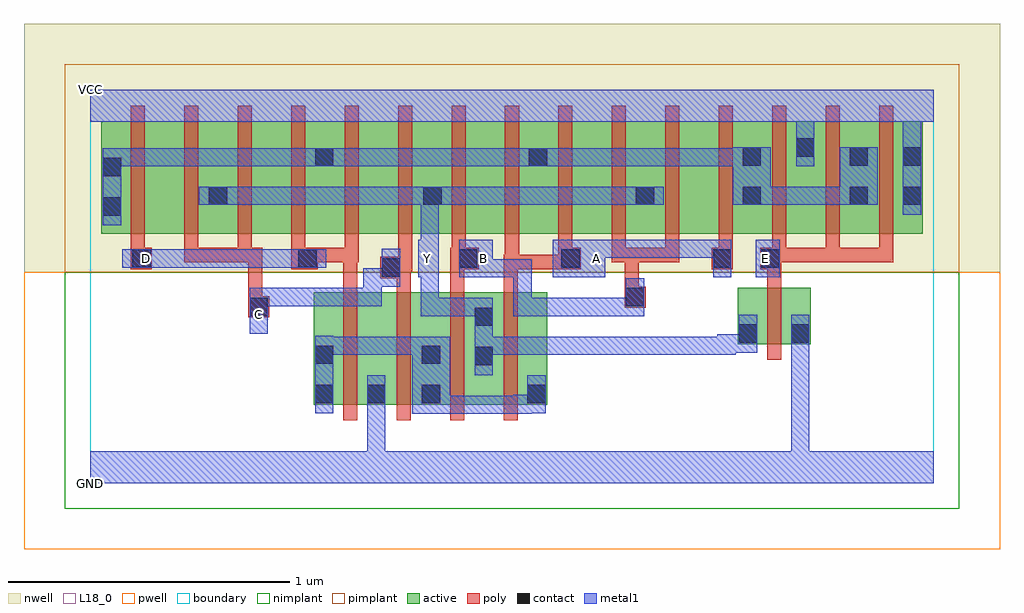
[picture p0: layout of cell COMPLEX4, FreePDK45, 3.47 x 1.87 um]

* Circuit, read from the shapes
.subckt COMPLEX4 A B C D E GND VCC Y
M1 GND D n1 VSUBS nfet w=0.4u l=0.05u
M2 n1 C GND VSUBS nfet w=0.4u l=0.05u
M3 Y B n1 VSUBS nfet w=0.4u l=0.05u
M4 n1 A Y VSUBS nfet w=0.4u l=0.05u
M5 GND E Y VSUBS nfet w=0.2u l=0.05u
M6 n2 D n3 n4 pfet w=0.4u l=0.05u
M7 Y C n2 n4 pfet w=0.4u l=0.05u
M8 n5 C Y n4 pfet w=0.4u l=0.05u
M9 n3 D n5 n4 pfet w=0.4u l=0.05u
M10 n6 D n3 n4 pfet w=0.4u l=0.05u
M11 Y C n6 n4 pfet w=0.4u l=0.05u
M12 n7 B Y n4 pfet w=0.4u l=0.05u
M13 n3 A n7 n4 pfet w=0.4u l=0.05u
M14 n8 A n3 n4 pfet w=0.4u l=0.05u
M15 Y B n8 n4 pfet w=0.4u l=0.05u
M16 n9 B Y n4 pfet w=0.4u l=0.05u
M17 n3 A n9 n4 pfet w=0.4u l=0.05u
M18 VCC E n3 n4 pfet w=0.4u l=0.05u m=3
.ends

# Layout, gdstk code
import gdstk
lib = gdstk.Library(unit=1e-6, precision=1e-09)
def R(c, l, rs):  # rectangles x0, y0, x1, y1
    for r in rs: c.add(gdstk.rectangle(r[:2], r[2:], *l))
def A(c, l, x, y, w, h, nx, ny, dx, dy):  # array of equal rectangles
    R(c, l, [(x+i*dx, y+j*dy, x+i*dx+w, y+j*dy+h) for i in range(nx) for j in range(ny)])
active = (1, 0)
pwell = (2, 0)
nwell = (3, 0)
nimplant = (4, 0)
pimplant = (5, 0)
poly = (9, 0)
contact = (10, 0)
metal1 = (11, 0)
L18_0 = (18, 0)
boundary = (235, 0)

complex4 = lib.new_cell('COMPLEX4')
A(complex4, active, 1.405, 0.887, 0.225, 0.4, 3, 1, 0.38, 0)
A(complex4, active, 2.315, 0.887, 0.265, 0.4, 3, 1, 0.19, 0)
R(complex4, active, [(0.795,0.28,1.055,0.68), (0.795,0.28,0.87,0.597), (0.98,0.28,1.25,0.68), (0.98,0.28,1.055,0.492), (1.175,0.28,1.437,0.68), (1.175,0.28,1.25,0.55), (1.362,0.28,1.625,0.68), (1.55,0.28,1.625,0.447), (1.362,0.295,1.437,0.68), (2.302,0.495,2.377,0.695), (2.302,0.495,2.562,0.695), (2.487,0.495,2.562,0.695), (0.04,0.887,0.265,1.287), (0.04,0.887,0.145,1.2), (0.265,0.887,0.492,1.287), (0.417,0.887,0.492,1.07), (0.417,0.887,0.645,1.287), (0.645,0.887,0.87,1.287), (0.795,0.887,0.87,1.2), (0.795,0.887,1.025,1.287), (1.025,0.887,1.255,1.287), (1.18,0.887,1.405,1.287), (1.18,0.887,1.255,1.07), (1.555,0.887,1.785,1.287), (1.935,0.887,2.165,1.287), (1.935,0.887,2.01,1.07), (2.315,0.887,2.39,1.2), (2.505,0.887,2.58,1.287), (2.695,0.887,2.77,1.2), (2.885,0.887,2.96,1.287), (1.555,0.907,1.63,1.2)])
R(complex4, pwell, [(-0.235,-0.235,3.235,0.75)])
R(complex4, nwell, [(-0.235,0.75,3.235,1.635)])
R(complex4, nimplant, [(-0.09,-0.09,3.09,0.75)])
R(complex4, pimplant, [(-0.09,0.75,3.09,1.49)])
A(complex4, poly, 0.9, 0.225, 0.05, 0.51, 4, 1, 0.19, 0)
A(complex4, poly, 0.145, 0.787, 0.05, 0.095, 5, 1, 0.19, 0)
A(complex4, poly, 1.665, 0.787, 0.05, 0.095, 7, 1, 0.19, 0)
A(complex4, poly, 2.425, 0.787, 0.05, 0.05, 3, 1, 0.19, 0)
A(complex4, poly, 0.145, 0.832, 0.05, 0.51, 15, 1, 0.19, 0)
R(complex4, poly, [(2.407,0.44,2.457,0.75), (0.562,0.59,0.637,0.665), (0.562,0.615,0.612,0.837), (1.9,0.625,1.975,0.7), (1.9,0.65,1.95,0.837), (0.9,0.685,0.95,0.837), (1.09,0.685,1.14,0.78), (1.28,0.685,1.33,0.812), (1.47,0.685,1.52,0.812), (2.407,0.7,2.457,0.812), (1.032,0.73,1.14,0.805), (1.09,0.755,1.14,0.805), (1.09,0.755,1.145,0.805), (1.095,0.755,1.145,0.882), (0.145,0.762,0.22,0.837), (0.715,0.762,0.81,0.837), (1.28,0.762,1.382,0.837), (1.47,0.762,1.525,0.812), (1.475,0.762,1.525,0.812), (1.475,0.762,1.525,0.812), (1.475,0.762,1.715,0.812), (1.475,0.762,1.525,0.882), (1.665,0.762,1.715,0.812), (1.665,0.762,1.715,0.812), (1.665,0.762,1.745,0.837), (2.21,0.762,2.285,0.837), (2.382,0.762,2.457,0.837), (0.335,0.787,0.385,0.837), (0.335,0.787,0.385,0.837), (0.335,0.787,0.385,0.837), (0.335,0.787,0.575,0.837), (0.525,0.787,0.612,0.837), (0.76,0.787,0.95,0.837), (0.9,0.787,0.95,0.837), (0.9,0.787,0.95,0.837), (0.9,0.787,0.95,0.837), (0.9,0.787,0.95,0.837), (0.9,0.787,0.955,0.837), (1.285,0.787,1.335,0.882), (1.285,0.787,1.335,0.837), (1.285,0.787,1.335,0.837), (1.855,0.787,1.95,0.837), (1.9,0.787,1.95,0.837), (1.9,0.787,1.95,0.837), (1.9,0.787,2.095,0.837), (2.045,0.787,2.095,0.837), (2.407,0.787,2.457,0.837), (2.407,0.787,2.475,0.837), (2.425,0.787,2.475,0.837), (2.425,0.787,2.665,0.837), (2.615,0.787,2.855,0.837), (2.805,0.787,2.855,0.837), (2.805,0.787,2.855,0.837)])
A(complex4, contact, 1.94, 0.99, 0.065, 0.065, 3, 1, 0.38, 0)
R(complex4, contact, [(0.8,0.285,0.865,0.35), (0.985,0.285,1.05,0.35), (1.18,0.285,1.245,0.35), (1.555,0.285,1.62,0.35), (1.367,0.42,1.432,0.485), (0.8,0.425,0.865,0.49), (1.18,0.425,1.245,0.49), (2.307,0.5,2.372,0.565), (2.492,0.5,2.557,0.565), (1.367,0.56,1.432,0.625), (0.567,0.595,0.632,0.66), (1.905,0.63,1.97,0.695), (1.037,0.735,1.102,0.8), (0.15,0.767,0.215,0.832), (0.74,0.767,0.805,0.832), (1.312,0.767,1.377,0.832), (1.675,0.767,1.74,0.832), (2.215,0.767,2.28,0.832), (2.387,0.767,2.452,0.832), (0.045,0.952,0.11,1.017), (0.422,0.99,0.487,1.055), (1.185,0.99,1.25,1.055), (2.89,0.99,2.955,1.055), (0.045,1.092,0.11,1.157), (0.8,1.127,0.865,1.192), (1.56,1.127,1.625,1.192), (2.32,1.13,2.385,1.195), (2.7,1.13,2.765,1.195), (2.89,1.13,2.955,1.195), (2.51,1.162,2.575,1.227)])
R(complex4, metal1, [(0,0,3,0.115), (0.985,0.05,1.05,0.315), (2.492,0.05,2.557,0.115), (2.492,0.05,2.557,0.115), (2.492,0.05,2.557,0.115), (2.492,0.05,2.557,0.115), (2.492,0.05,2.557,0.53), (1.145,0.247,1.28,0.522), (1.215,0.247,1.432,0.312), (1.367,0.247,1.432,0.312), (1.367,0.247,1.432,0.312), (1.367,0.247,1.432,0.312), (1.367,0.247,1.57,0.312), (1.505,0.247,1.57,0.315), (0.8,0.25,0.865,0.525), (0.985,0.25,1.05,0.385), (1.505,0.25,1.62,0.315), (1.555,0.25,1.62,0.385), (1.367,0.385,1.432,0.66), (0.8,0.457,0.935,0.522), (0.87,0.457,0.935,0.522), (0.87,0.457,1.072,0.522), (1.007,0.457,1.072,0.522), (1.007,0.457,1.072,0.522), (1.007,0.457,1.072,0.522), (1.007,0.457,1.072,0.522), (1.007,0.457,1.072,0.522), (1.007,0.457,1.21,0.522), (1.367,0.457,1.57,0.522), (1.505,0.457,1.57,0.522), (1.505,0.457,1.57,0.522), (1.505,0.457,1.57,0.522), (1.505,0.457,1.797,0.522), (1.732,0.457,1.797,0.522), (1.732,0.457,1.797,0.522), (1.732,0.457,1.797,0.522), (1.732,0.457,1.97,0.522), (1.905,0.457,1.97,0.522), (1.905,0.457,1.97,0.522), (1.905,0.457,1.97,0.522), (1.905,0.457,2.107,0.522), (2.042,0.457,2.107,0.522), (2.042,0.457,2.212,0.522), (2.147,0.457,2.212,0.522), (2.147,0.457,2.295,0.522), (2.23,0.457,2.295,0.53), (2.23,0.465,2.372,0.53), (2.307,0.465,2.372,0.6), (2.492,0.465,2.557,0.6), (0.567,0.532,0.632,0.695), (1.175,0.595,1.24,0.66), (1.175,0.595,1.24,0.797), (1.175,0.595,1.352,0.66), (1.287,0.595,1.352,0.66), (1.287,0.595,1.432,0.66), (1.505,0.595,1.57,0.66), (1.505,0.595,1.57,0.66), (1.505,0.595,1.797,0.66), (1.505,0.595,1.57,0.797), (1.732,0.595,1.797,0.66), (1.732,0.595,1.797,0.66), (1.732,0.595,1.797,0.66), (1.732,0.595,1.97,0.66), (1.905,0.595,1.97,0.73), (0.567,0.63,0.66,0.695), (0.595,0.63,0.66,0.695), (0.595,0.63,0.797,0.695), (0.732,0.63,0.797,0.695), (0.732,0.63,0.797,0.695), (0.732,0.63,0.797,0.695), (0.732,0.63,0.935,0.695), (0.87,0.63,0.935,0.695), (0.87,0.63,1.037,0.695), (0.972,0.63,1.037,0.765), (0.972,0.7,1.102,0.765), (1.037,0.7,1.102,0.835), (1.167,0.732,1.24,0.867), (1.312,0.732,1.432,0.867), (1.367,0.732,1.432,0.797), (1.367,0.732,1.432,0.797), (1.367,0.732,1.57,0.797), (1.645,0.732,1.832,0.867), (2.215,0.732,2.28,0.867), (2.367,0.732,2.452,0.867), (0.115,0.767,0.267,0.832), (0.202,0.767,0.267,0.832), (0.202,0.767,0.267,0.832), (0.202,0.767,0.405,0.832), (0.34,0.767,0.405,0.832), (0.34,0.767,0.405,0.832), (0.34,0.767,0.405,0.832), (0.34,0.767,0.632,0.832), (0.567,0.767,0.632,0.832), (0.567,0.767,0.66,0.832), (0.595,0.767,0.66,0.832), (0.595,0.767,0.77,0.832), (0.705,0.767,0.84,0.832), (1.175,0.802,1.24,1.055), (1.767,0.802,1.832,0.867), (1.767,0.802,1.832,0.867), (1.767,0.802,1.97,0.867), (1.905,0.802,1.97,0.867), (1.905,0.802,1.97,0.867), (1.905,0.802,1.97,0.867), (1.905,0.802,2.107,0.867), (2.042,0.802,2.107,0.867), (2.042,0.802,2.212,0.867), (2.147,0.802,2.212,0.867), (2.147,0.802,2.28,0.867), (0.045,0.917,0.11,1.192), (2.89,0.955,2.955,1.23), (0.387,0.99,0.522,1.055), (0.457,0.99,0.56,1.055), (0.495,0.99,0.56,1.055), (0.495,0.99,0.66,1.055), (0.595,0.99,0.66,1.055), (0.595,0.99,0.797,1.055), (0.732,0.99,0.797,1.055), (0.732,0.99,0.797,1.055), (0.732,0.99,0.797,1.055), (0.732,0.99,0.935,1.055), (0.87,0.99,0.935,1.055), (0.87,0.99,1.037,1.055), (0.972,0.99,1.037,1.055), (0.972,0.99,1.215,1.055), (1.15,0.99,1.215,1.055), (1.15,0.99,1.215,1.055), (1.15,0.99,1.285,1.055), (1.175,0.99,1.24,1.055), (1.175,0.99,1.24,1.055), (1.22,0.99,1.432,1.055), (1.367,0.99,1.432,1.055), (1.367,0.99,1.432,1.055), (1.367,0.99,1.432,1.055), (1.367,0.99,1.57,1.055), (1.505,0.99,1.57,1.055), (1.505,0.99,1.57,1.055), (1.505,0.99,1.57,1.055), (1.505,0.99,1.797,1.055), (1.732,0.99,1.797,1.055), (1.732,0.99,1.797,1.055), (1.732,0.99,1.797,1.055), (1.732,0.99,1.97,1.055), (1.905,0.99,1.97,1.055), (1.905,0.99,1.97,1.055), (1.905,0.99,2.04,1.055), (2.285,0.99,2.42,1.195), (2.355,0.99,2.557,1.055), (2.492,0.99,2.557,1.055), (2.492,0.99,2.557,1.055), (2.492,0.99,2.557,1.055), (2.492,0.99,2.73,1.055), (2.665,0.99,2.73,1.055), (2.665,0.99,2.73,1.055), (2.665,0.99,2.8,1.195), (0.045,1.127,0.11,1.192), (0.045,1.127,0.11,1.192), (0.045,1.127,0.247,1.192), (0.182,1.127,0.247,1.192), (0.182,1.127,0.247,1.192), (0.182,1.127,0.247,1.192), (0.182,1.127,0.405,1.192), (0.34,1.127,0.405,1.192), (0.34,1.127,0.405,1.192), (0.34,1.127,0.405,1.192), (0.34,1.127,0.542,1.192), (0.477,1.127,0.542,1.192), (0.477,1.127,0.66,1.192), (0.595,1.127,0.66,1.192), (0.595,1.127,0.77,1.192), (0.705,1.127,0.77,1.192), (0.705,1.127,0.83,1.192), (0.765,1.127,0.9,1.192), (0.835,1.127,0.935,1.192), (0.87,1.127,0.935,1.192), (0.87,1.127,1.037,1.192), (0.972,1.127,1.037,1.192), (0.972,1.127,1.215,1.192), (1.15,1.127,1.215,1.192), (1.15,1.127,1.215,1.192), (1.15,1.127,1.215,1.192), (1.15,1.127,1.422,1.192), (1.357,1.127,1.422,1.192), (1.357,1.127,1.422,1.192), (1.357,1.127,1.422,1.192), (1.357,1.127,1.57,1.192), (1.505,1.127,1.57,1.192), (1.505,1.127,1.59,1.192), (1.525,1.127,1.66,1.192), (1.595,1.127,1.797,1.192), (1.732,1.127,1.797,1.192), (1.732,1.127,1.797,1.192), (1.732,1.127,1.797,1.192), (1.732,1.127,1.97,1.192), (1.905,1.127,1.97,1.192), (1.905,1.127,1.97,1.192), (1.905,1.127,1.97,1.192), (1.905,1.127,2.107,1.192), (2.042,1.127,2.107,1.192), (2.042,1.127,2.177,1.192), (2.112,1.127,2.177,1.192), (2.112,1.127,2.177,1.192), (2.112,1.127,2.177,1.192), (2.112,1.127,2.245,1.192), (2.18,1.127,2.245,1.192), (2.18,1.127,2.35,1.192), (2.51,1.127,2.575,1.262), (2.89,1.165,2.955,1.35), (2.51,1.197,2.575,1.35), (0,1.285,3,1.4)])
R(complex4, L18_0, [(0,0,3,0.115), (0.985,0.05,1.05,0.315), (2.492,0.05,2.557,0.115), (2.492,0.05,2.557,0.115), (2.492,0.05,2.557,0.115), (2.492,0.05,2.557,0.115), (2.492,0.05,2.557,0.53), (0.985,0.25,1.05,0.385), (1.367,0.385,1.432,0.66), (1.367,0.457,1.57,0.522), (1.505,0.457,1.57,0.522), (1.505,0.457,1.57,0.522), (1.505,0.457,1.57,0.522), (1.505,0.457,1.797,0.522), (1.732,0.457,1.797,0.522), (1.732,0.457,1.797,0.522), (1.732,0.457,1.797,0.522), (1.732,0.457,1.97,0.522), (1.905,0.457,1.97,0.522), (1.905,0.457,1.97,0.522), (1.905,0.457,1.97,0.522), (1.905,0.457,2.107,0.522), (2.042,0.457,2.107,0.522), (2.042,0.457,2.212,0.522), (2.147,0.457,2.212,0.522), (2.147,0.457,2.295,0.522), (2.23,0.457,2.295,0.53), (2.23,0.465,2.372,0.53), (2.307,0.465,2.372,0.6), (2.492,0.465,2.557,0.6), (0.567,0.532,0.632,0.695), (0.567,0.567,0.632,0.632), (1.175,0.595,1.24,0.66), (1.175,0.595,1.24,0.797), (1.175,0.595,1.352,0.66), (1.287,0.595,1.352,0.66), (1.287,0.595,1.432,0.66), (1.505,0.595,1.57,0.66), (1.505,0.595,1.57,0.66), (1.505,0.595,1.797,0.66), (1.505,0.595,1.57,0.797), (1.732,0.595,1.797,0.66), (1.732,0.595,1.797,0.66), (1.732,0.595,1.797,0.66), (1.732,0.595,1.97,0.66), (1.905,0.595,1.97,0.73), (0.567,0.63,0.66,0.695), (0.595,0.63,0.66,0.695), (0.595,0.63,0.797,0.695), (0.732,0.63,0.797,0.695), (0.732,0.63,0.797,0.695), (0.732,0.63,0.797,0.695), (0.732,0.63,0.935,0.695), (0.87,0.63,0.935,0.695), (0.87,0.63,1.037,0.695), (0.972,0.63,1.037,0.765), (0.972,0.7,1.102,0.765), (1.037,0.7,1.102,0.835), (1.167,0.732,1.24,0.867), (1.312,0.732,1.432,0.867), (1.367,0.732,1.432,0.797), (1.367,0.732,1.432,0.797), (1.367,0.732,1.57,0.797), (1.645,0.732,1.832,0.867), (2.215,0.732,2.28,0.867), (2.367,0.732,2.452,0.867), (0.115,0.767,0.267,0.832), (0.167,0.767,0.232,0.832), (0.202,0.767,0.267,0.832), (0.202,0.767,0.267,0.832), (0.202,0.767,0.405,0.832), (0.34,0.767,0.405,0.832), (0.34,0.767,0.405,0.832), (0.34,0.767,0.405,0.832), (0.34,0.767,0.632,0.832), (0.567,0.767,0.632,0.832), (0.567,0.767,0.66,0.832), (0.595,0.767,0.66,0.832), (0.595,0.767,0.77,0.832), (0.705,0.767,0.84,0.832), (1.167,0.767,1.232,0.832), (1.367,0.767,1.432,0.832), (1.767,0.767,1.832,0.832), (2.367,0.767,2.432,0.832), (1.175,0.802,1.24,1.055), (1.767,0.802,1.832,0.867), (1.767,0.802,1.832,0.867), (1.767,0.802,1.97,0.867), (1.905,0.802,1.97,0.867), (1.905,0.802,1.97,0.867), (1.905,0.802,1.97,0.867), (1.905,0.802,2.107,0.867), (2.042,0.802,2.107,0.867), (2.042,0.802,2.212,0.867), (2.147,0.802,2.212,0.867), (2.147,0.802,2.28,0.867), (2.89,0.955,2.955,1.23), (0.387,0.99,0.522,1.055), (0.457,0.99,0.56,1.055), (0.495,0.99,0.56,1.055), (0.495,0.99,0.66,1.055), (0.595,0.99,0.66,1.055), (0.595,0.99,0.797,1.055), (0.732,0.99,0.797,1.055), (0.732,0.99,0.797,1.055), (0.732,0.99,0.797,1.055), (0.732,0.99,0.935,1.055), (0.87,0.99,0.935,1.055), (0.87,0.99,1.037,1.055), (0.972,0.99,1.037,1.055), (0.972,0.99,1.215,1.055), (1.15,0.99,1.215,1.055), (1.15,0.99,1.215,1.055), (1.15,0.99,1.285,1.055), (1.175,0.99,1.24,1.055), (1.175,0.99,1.24,1.055), (1.22,0.99,1.432,1.055), (1.367,0.99,1.432,1.055), (1.367,0.99,1.432,1.055), (1.367,0.99,1.432,1.055), (1.367,0.99,1.57,1.055), (1.505,0.99,1.57,1.055), (1.505,0.99,1.57,1.055), (1.505,0.99,1.57,1.055), (1.505,0.99,1.797,1.055), (1.732,0.99,1.797,1.055), (1.732,0.99,1.797,1.055), (1.732,0.99,1.797,1.055), (1.732,0.99,1.97,1.055), (1.905,0.99,1.97,1.055), (1.905,0.99,1.97,1.055), (1.905,0.99,2.04,1.055), (2.51,1.127,2.575,1.262), (2.89,1.165,2.955,1.35), (2.51,1.197,2.575,1.35), (0,1.285,3,1.4)])
R(complex4, boundary, [(0,0,3,1.4)])
complex4.add(gdstk.Label('A', (1.8,0.8), layer=11, texttype=0))
complex4.add(gdstk.Label('B', (1.4,0.8), layer=11, texttype=0))
complex4.add(gdstk.Label('C', (0.6,0.6), layer=11, texttype=0))
complex4.add(gdstk.Label('D', (0.2,0.8), layer=11, texttype=0))
complex4.add(gdstk.Label('E', (2.4,0.8), layer=11, texttype=0))
complex4.add(gdstk.Label('Y', (1.2,0.8), layer=11, texttype=0))
complex4.add(gdstk.Label('VCC', (0,1.4), layer=11, texttype=0))
complex4.add(gdstk.Label('GND', (0,0), layer=11, texttype=0))

lib.write_gds('COMPLEX4.gds')
